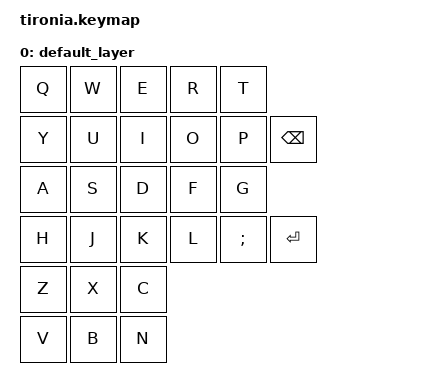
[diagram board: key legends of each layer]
#include <behaviors.dtsi>
#include <dt-bindings/zmk/keys.h>
#include <dt-bindings/zmk/bt.h>

/ {
    keymap {
        compatible = "zmk,keymap";

        default_layer {
            
            bindings = <
                &kp Q     &kp W     &kp E     &kp R     &kp T           
                &kp Y     &kp U     &kp I     &kp O     &kp P     &kp BSPC
                &kp A     &kp S     &kp D     &kp F     &kp G           
                &kp H     &kp J     &kp K     &kp L     &kp SEMI  &kp RET
                &kp Z     &kp X     &kp C           
                &kp V     &kp B     &kp N
            >;
        };
    };
};

/* 
                &kp Q     &kp W     &kp E     &kp R     &kp T           &kp Y     &kp U     &kp I     &kp O     &kp P     &kp BSPC
                &kp A     &kp S     &kp D     &kp F     &kp G           &kp H     &kp J     &kp K     &kp L     &kp SEMI  &kp RET
                                    &kp Z     &kp X     &kp C           &kp V     &kp B     &kp N
*/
